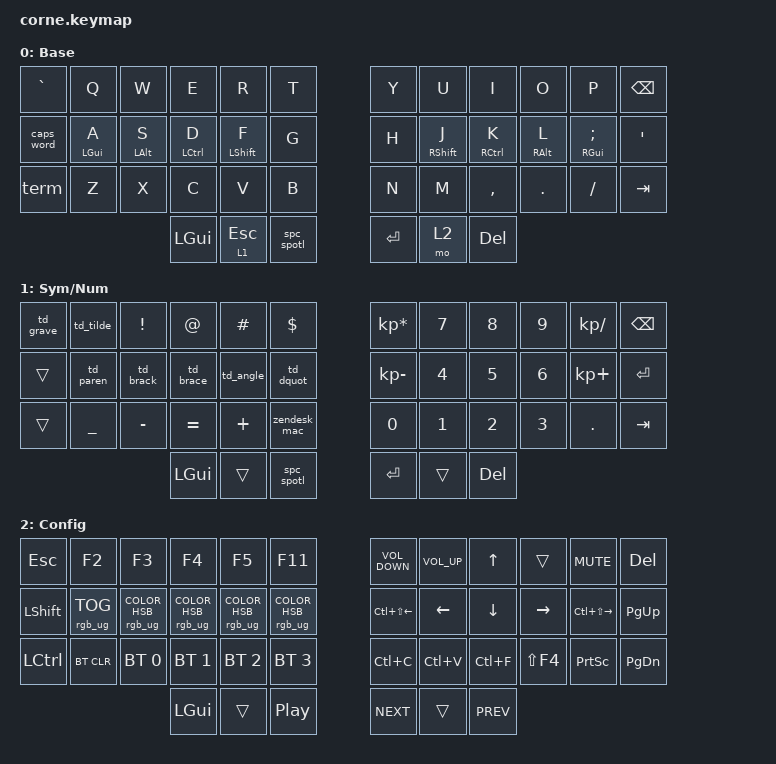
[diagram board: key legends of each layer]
/*
 * Copyright (c) 2020 The ZMK Contributors
 *
 * SPDX-License-Identifier: MIT
 *
 * Optimized Corne Keymap
 * - Capa 0: QWERTY con Homerow Mods
 * - Capa 1: Símbolos (tap = apertura, double-tap = cierre) + Numpad derecho
 * - Capa 2: Config RGB, Bluetooth, Multimedia, Combos (Ctrl+C, Ctrl+V, Ctrl+F, Ctrl+Shift+F4)
 */

#include <behaviors.dtsi>
#include <dt-bindings/zmk/bt.h>
#include <dt-bindings/zmk/keys.h>
#include <dt-bindings/zmk/rgb.h>

/* ─── Configuración global de hold-tap ─── */

&mt {
    flavor = "tap-preferred";
    tapping-term-ms = <200>;
    quick-tap-ms = <125>;
    require-prior-idle-ms = <100>;
};

&led_strip { chain-length = <27>; };

/ {
    /* ═══════════════════════════════════════
       MACROS
       ═══════════════════════════════════════ */

    macros {
        /* Macro original: escribe /calificacion */

        term: term {
            compatible = "zmk,behavior-macro";
            #binding-cells = <0>;
            bindings = <&kp LC(LA(T))>;
            label = "TERMINAL";
        };

        /* Símbolos de apertura */

        m_paren_o: m_paren_o {
            compatible = "zmk,behavior-macro";
            #binding-cells = <0>;
            bindings = <&kp LPAR>;
            label = "M_PAREN_O";
        };

        m_brack_o: m_brack_o {
            compatible = "zmk,behavior-macro";
            #binding-cells = <0>;
            bindings = <&kp LBKT>;
            label = "M_BRACK_O";
        };

        m_brace_o: m_brace_o {
            compatible = "zmk,behavior-macro";
            #binding-cells = <0>;
            bindings = <&kp LBRC>;
            label = "M_BRACE_O";
        };

        m_angle_o: m_angle_o {
            compatible = "zmk,behavior-macro";
            #binding-cells = <0>;
            bindings = <&kp LT>;
            label = "M_ANGLE_O";
        };

        m_dquot_o: m_dquot_o {
            compatible = "zmk,behavior-macro";
            #binding-cells = <0>;
            bindings = <&kp DQT>;
            label = "M_DQUOT_O";
        };

        m_squot_o: m_squot_o {
            compatible = "zmk,behavior-macro";
            #binding-cells = <0>;
            bindings = <&kp SQT>;
            label = "M_SQUOT_O";
        };

        m_grave_o: m_grave_o {
            compatible = "zmk,behavior-macro";
            #binding-cells = <0>;
            bindings = <&kp GRAVE>;
            label = "M_GRAVE_O";
        };

        m_tilde_o: m_tilde_o {
            compatible = "zmk,behavior-macro";
            #binding-cells = <0>;
            bindings = <&kp TILDE>;
            label = "M_TILDE_O";
        };

        /* Símbolos de cierre */

        m_paren_c: m_paren_c {
            compatible = "zmk,behavior-macro";
            #binding-cells = <0>;
            bindings = <&kp RPAR>;
            label = "M_PAREN_C";
        };

        m_brack_c: m_brack_c {
            compatible = "zmk,behavior-macro";
            #binding-cells = <0>;
            bindings = <&kp RBKT>;
            label = "M_BRACK_C";
        };

        m_brace_c: m_brace_c {
            compatible = "zmk,behavior-macro";
            #binding-cells = <0>;
            bindings = <&kp RBRC>;
            label = "M_BRACE_C";
        };

        m_angle_c: m_angle_c {
            compatible = "zmk,behavior-macro";
            #binding-cells = <0>;
            bindings = <&kp GT>;
            label = "M_ANGLE_C";
        };

        m_dquot_c: m_dquot_c {
            compatible = "zmk,behavior-macro";
            #binding-cells = <0>;
            bindings = <&kp DQT>;
            label = "M_DQUOT_C";
        };

        m_squot_c: m_squot_c {
            compatible = "zmk,behavior-macro";
            #binding-cells = <0>;
            bindings = <&kp SQT>;
            label = "M_SQUOT_C";
        };

        m_grave_c: m_grave_c {
            compatible = "zmk,behavior-macro";
            #binding-cells = <0>;
            bindings = <&kp GRAVE>;
            label = "M_GRAVE_C";
        };

        m_tilde_c: m_tilde_c {
            compatible = "zmk,behavior-macro";
            #binding-cells = <0>;
            bindings = <&kp TILDE>;
            label = "M_TILDE_C";
        };

        zendesk_mac: macros {
            compatible = "zmk,behavior-macro";
            #binding-cells = <0>;
            bindings = <&kp SLASH &kp F &kp E &kp L &kp I &kp P &kp E>;
            label = "MACROS";
        };

        spotlight: spotlight {
            compatible = "zmk,behavior-macro";
            #binding-cells = <0>;
            bindings = <&kp SPACE &kp LEFT_COMMAND>;
            label = "SPOTLIGHT";
        };
    };

    /* ═══════════════════════════════════════
       BEHAVIORS — Double-tap para símbolos
       tap  = símbolo de apertura
       hold (o double-tap ≤200 ms) = cierre
       ═══════════════════════════════════════ */

    behaviors {
        /*  ( → )  */

        td_paren: td_paren {
            compatible = "zmk,behavior-tap-dance";
            #binding-cells = <0>;
            tapping-term-ms = <200>;
            bindings = <&m_paren_o>, <&m_paren_c>;
        };

        /*  [ → ]  */

        td_brack: td_brack {
            compatible = "zmk,behavior-tap-dance";
            #binding-cells = <0>;
            tapping-term-ms = <200>;
            bindings = <&m_brack_o>, <&m_brack_c>;
        };

        /*  { → }  */

        td_brace: td_brace {
            compatible = "zmk,behavior-tap-dance";
            #binding-cells = <0>;
            tapping-term-ms = <200>;
            bindings = <&m_brace_o>, <&m_brace_c>;
        };

        /*  < → >  */

        td_angle: td_angle {
            compatible = "zmk,behavior-tap-dance";
            #binding-cells = <0>;
            tapping-term-ms = <200>;
            bindings = <&m_angle_o>, <&m_angle_c>;
        };

        /*  " → "  (mismo carácter; 2 taps escribe la comilla de cierre de par) */

        td_dquot: td_dquot {
            compatible = "zmk,behavior-tap-dance";
            #binding-cells = <0>;
            tapping-term-ms = <200>;
            bindings = <&m_dquot_o>, <&m_dquot_c>;
        };

        /*  ' → '  */

        td_squot: td_squot {
            compatible = "zmk,behavior-tap-dance";
            #binding-cells = <0>;
            tapping-term-ms = <200>;
            bindings = <&m_squot_o>, <&m_squot_c>;
        };

        /* ` → ` (backtick / segundo tap repite) */

        td_grave: td_grave {
            compatible = "zmk,behavior-tap-dance";
            #binding-cells = <0>;
            tapping-term-ms = <200>;
            bindings = <&m_grave_o>, <&m_grave_c>;
        };

        /* ~ → ~ */

        td_tilde: td_tilde {
            compatible = "zmk,behavior-tap-dance";
            #binding-cells = <0>;
            tapping-term-ms = <200>;
            bindings = <&m_tilde_o>, <&m_tilde_c>;
        };

        spc_spotl: spc_spotl {
            compatible = "zmk,behavior-tap-dance";
            label = "SPC_SPOTL";
            #binding-cells = <0>;
            tapping-term-ms = <150>;
            bindings = <&kp SPACE>, <&spc_spotl>;
        };
    };

    /* ═══════════════════════════════════════
       KEYMAP
       ═══════════════════════════════════════ */

    keymap {
        compatible = "zmk,keymap";

        /* ───────────────────────────────────
           CAPA 0 — Base QWERTY + Homerow Mods
           ───────────────────────────────────
           Homerow mods (mano izquierda):
             A = GUI  |  S = ALT  |  D = CTRL  |  F = SHIFT
           Homerow mods (mano derecha):
             J = SHIFT  |  K = CTRL  |  L = ALT  |  ; = GUI

           Pulgares:
             [GUI]  [MO1/Space*]  [Space]   |  [Enter]  [MO2]  [Del]
           * Space en tap, MO1 en hold
        ─────────────────────────────────── */

        Base {
            display-name = "Base";
            bindings = <
&kp GRAVE   &kp Q       &kp W       &kp E        &kp R         &kp T         &kp Y      &kp U         &kp I        &kp O       &kp P          &kp BSPC
&caps_word  &mt LGUI A  &mt LALT S  &mt LCTRL D  &mt LSHIFT F  &kp G         &kp H      &mt RSHIFT J  &mt RCTRL K  &mt RALT L  &mt RGUI SEMI  &kp SQT
&term       &kp Z       &kp X       &kp C        &kp V         &kp B         &kp N      &kp M         &kp COMMA    &kp DOT     &kp FSLH       &kp TAB
                                    &kp LGUI     &lt 1 ESC     &spc_spotl    &kp ENTER  &mo 2         &kp DELETE
            >;
        };

        /* ───────────────────────────────────
           CAPA 1 — Símbolos (izq) + Numpad (der)
           ───────────────────────────────────
           Izquierda:
             Fila 1: ` ~ ! @ #
             Fila 2: td_paren td_brack td_brace td_angle td_dquot
             Fila 3: _ - = + (macro cal)

           Derecha (Numpad):
             Fila 1: * /  7  8  9  BSPC
             Fila 2: -  4  5  6  +  ENTER
             Fila 3: 0  1  2  3  .  TAB
        ─────────────────────────────────── */

        Sym-Num {
            display-name = "Sym/Num";
            bindings = <
&td_grave  &td_tilde  &kp EXCL   &kp AT     &kp HASH   &kp DOLLAR      &kp KP_MULTIPLY  &kp N7  &kp N8      &kp N9  &kp KP_SLASH  &kp BSPC
&trans     &td_paren  &td_brack  &td_brace  &td_angle  &td_dquot       &kp KP_MINUS     &kp N4  &kp N5      &kp N6  &kp KP_PLUS   &kp ENTER
&trans     &kp UNDER  &kp MINUS  &kp EQUAL  &kp PLUS   &zendesk_mac    &kp N0           &kp N1  &kp N2      &kp N3  &kp DOT       &kp TAB
                                 &kp LGUI   &trans     &spc_spotl      &kp ENTER        &trans  &kp DELETE
            >;
        };

        /* ───────────────────────────────────
           CAPA 2 — Config / Media / Combos
           ───────────────────────────────────
           Fila 1: F2  F3  F4  F5  F11  |  ---  ---  Vol↑  Vol↓  Mute  Del
           Fila 2: RGB_TOG  Blanco  Cálido  Azul  Verde  |  ←sel  ←  ↓  →  →sel  PgUp
           Fila 3: BT_CLR  BT0  BT1  BT2  BT3  |  Ctrl+C  Ctrl+V  Ctrl+F  Ctrl+Shift+F4  PrtSc  PgDn

           Multimedia (pulgar derecho disponible):
             Play/Pause, Next, Prev se ubican en el numpad-row de pulgares vía combos
        ─────────────────────────────────── */

        Config {
            display-name = "Config";
            bindings = <
&kp ESC     &kp F2           &kp F3                          &kp F4                           &kp F5                             &kp F11                              &kp C_VOLUME_DOWN  &kp C_VOLUME_UP  &kp UP      &trans      &kp C_MUTE         &kp DELETE
&kp LSHIFT  &rgb_ug RGB_TOG  &rgb_ug RGB_COLOR_HSB(46,0,40)  &rgb_ug RGB_COLOR_HSB(42,42,35)  &rgb_ug RGB_COLOR_HSB(200,100,50)  &rgb_ug RGB_COLOR_HSB(116,100,50)    &kp LC(LS(LEFT))   &kp LEFT         &kp DOWN    &kp RIGHT   &kp LC(LS(RIGHT))  &kp PG_UP
&kp LCTRL   &bt BT_CLR       &bt BT_SEL 0                    &bt BT_SEL 1                     &bt BT_SEL 2                       &bt BT_SEL 3                         &kp LC(C)          &kp LC(V)        &kp LC(F)   &kp LS(F4)  &kp PSCRN          &kp PG_DN
                                                             &kp LGUI                         &trans                             &kp C_PP                             &kp C_NEXT         &trans           &kp C_PREV
            >;
        };
    };
};
